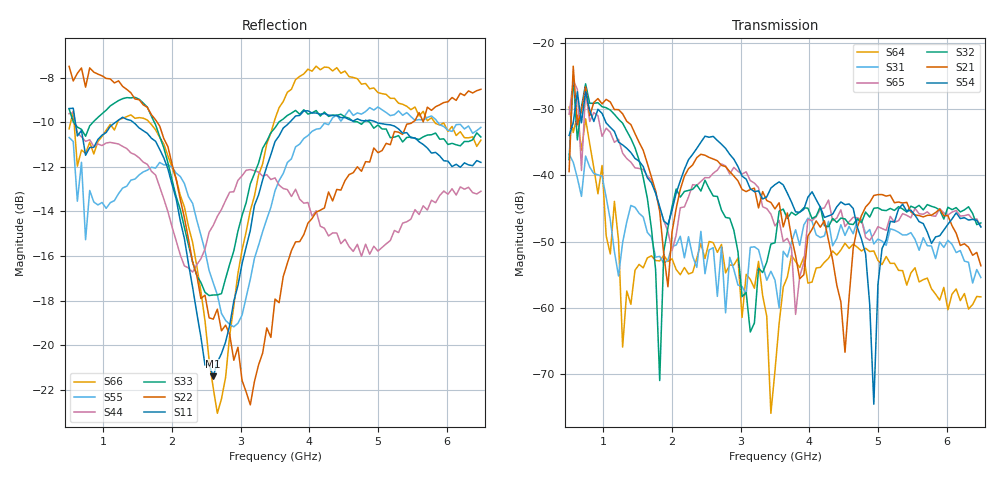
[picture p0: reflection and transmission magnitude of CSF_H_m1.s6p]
!Keysight Technologies,M9804A,MY58100912,A.14.10.03
!Date: Thursday, April 27, 2023 10:28:33
!Correction: S11(C  6-Port  )
!S12(C  6-Port  )
!S13(C  6-Port  )
!S14(C  6-Port  )
!S15(C  6-Port  )
!S16(C  6-Port  )
!S21(C  6-Port  )
!S22(C  6-Port  )
!S23(C  6-Port  )
!S24(C  6-Port  )
!S25(C  6-Port  )
!S26(C  6-Port  )
!S31(C  6-Port  )
!S32(C  6-Port  )
!S33(C  6-Port  )
!S34(C  6-Port  )
!S35(C  6-Port  )
!S36(C  6-Port  )
!S41(C  6-Port  )
!S42(C  6-Port  )
!S43(C  6-Port  )
!S44(C  6-Port  )
!S45(C  6-Port  )
!S46(C  6-Port  )
!S51(C  6-Port  )
!S52(C  6-Port  )
!S53(C  6-Port  )
!S54(C  6-Port  )
!S55(C  6-Port  )
!S56(C  6-Port  )
!S61(C  6-Port  )
!S62(C  6-Port  )
!S63(C  6-Port  )
!S64(C  6-Port  )
!S65(C  6-Port  )
!S66(C  6-Port  )
!S6P File: Measurement: :
# Hz S  RI  R 50
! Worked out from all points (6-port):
!   101 points, 500 MHz to 6.5 GHz, reference 50 ohm
!   strongest paths, dB at 500 MHz, 2 GHz, 3.5 GHz, 5 GHz, 6.5 GHz:
!     S54: -34.0, -45.3, -41.4, -56.5, -47.8
!     S21: -39.4, -48.5, -45.1, -42.9, -53.6
!     S32: -37.6, -44.7, -50.2, -44.9, -47.2
!     S65: -30.8, -51.4, -47.6, -47.7, -47.7
!     S31: -36.8, -50.7, -55.8, -49.6, -55.4
!     S64: -29.7, -52.6, -69.5, -52.8, -58.3
!   lowest |S11| = -21.4 dB at 2.6 GHz (marker M1), VSWR 1.19, Z = 42.4 + j2.19 ohm
!   |S11| at or under -10 dB: 590.6 MHz to 1.174 GHz (583.8 MHz wide, 66.2 % of centre); 1.436 GHz to 3.713 GHz (2.277 GHz wide, 88.4 % of centre); 4.979 GHz to end of sweep
